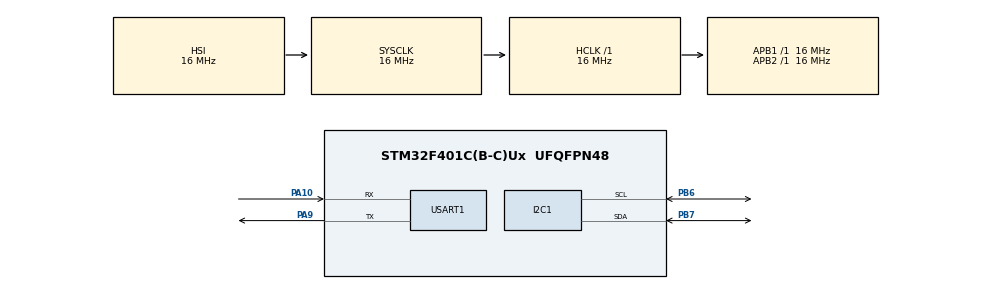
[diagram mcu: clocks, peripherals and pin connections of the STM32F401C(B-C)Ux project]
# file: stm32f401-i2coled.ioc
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Mcu.Family=STM32F4
Mcu.Name=STM32F401C(B-C)Ux
Mcu.Package=UFQFPN48
NVIC.PriorityGroup=NVIC_PRIORITYGROUP_4
PA10.Mode=Asynchronous
PA10.Signal=USART1_RX
PA9.Mode=Asynchronous
PA9.Signal=USART1_TX
PB6.Mode=I2C
PB6.Signal=I2C1_SCL
PB7.Mode=I2C
PB7.Signal=I2C1_SDA
ProjectManager.HeapSize=0x200
ProjectManager.StackSize=0x400
ProjectManager.TargetToolchain=SW4STM32
RCC.AHBFreq_Value=16000000
RCC.APB1Freq_Value=16000000
RCC.APB2Freq_Value=16000000
RCC.CortexFreq_Value=16000000
RCC.HSE_VALUE=25000000
RCC.HSI_VALUE=16000000
RCC.LSE_VALUE=32768
RCC.SYSCLKFreq_VALUE=16000000
RCC.VCOOutputFreq_Value=192000000
USART1.VirtualMode=VM_ASYNC
board=custom

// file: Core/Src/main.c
/* USER CODE BEGIN Header */
/**
  ******************************************************************************
  * @file           : main.c
  * @brief          : Main program body
  ******************************************************************************
  * @attention
  *
  * <h2><center>&copy; Copyright (c) 2020 STMicroelectronics.
  * All rights reserved.</center></h2>
  *
  * This software component is licensed by ST under BSD 3-Clause license,
  * the "License"; You may not use this file except in compliance with the
  * License. You may obtain a copy of the License at:
  *                        opensource.org/licenses/BSD-3-Clause
  *
  ******************************************************************************
  */
/* USER CODE END Header */
#include "main.h"
#include "i2c.h"
#include "usart.h"
#include "gpio.h"
//#include "sh1106g.h"
#include "sh1107.h"

void SystemClock_Config(void);

int main(void)
{

  /* MCU Configuration--------------------------------------------------------*/

  /* Reset of all peripherals, Initializes the Flash interface and the Systick. */
  HAL_Init();

  /* Configure the system clock */
  SystemClock_Config();

  /* Initialize all configured peripherals */
  MX_GPIO_Init();
  MX_I2C1_Init();
  MX_USART1_UART_Init();
  /* USER CODE BEGIN 2 */
  printf("hello world\r\n");
  printf("this is a test-i2c.\r\n");
  printf("freq:%ld\r\n",HAL_RCC_GetHCLKFreq());
  HAL_StatusTypeDef result;
  int32_t i;
  uint8_t read_buf1[8]={0};
  uint8_t read_buf2[8]={0};

  for(i=0;i<128;i++)
  {
    result = HAL_I2C_Mem_Read(&hi2c1,(i<<1)|1,0x00,I2C_MEMADD_SIZE_8BIT,read_buf1,8,0xff);
    if(0 == result)
    {
      printf("scaned:0x%x\r\n",(i<<1)|1);
    }
    else
    {
      //printf("error:%d\r\n",result);
    }
  }
  /*
  sh1106g_init();
  sh1106g_cls();
  sh1106g_fill(0x0f);
  sh1106g_showstr(0,1,"1234567890123406",1);
  sh1106g_showstr(0,2,"1239567890123457",1);
  sh1106g_showstr(0,3,"5234567890123455",1);
  sh1106g_showstr(0,4,"1237567890123454",1);
  sh1106g_showstr(0,5,"3234567890123426",1);
  sh1106g_showstr(0,6,"1234547890123456",1);
  sh1106g_showstr(0,7,"1237567890123459",1);
  sh1106g_showstr(0,8,"3234567890623465",1);
  */

  sh1107_init();
  sh1107_clear();
  sh1107_showchar(1,1,'a');

  /* USER CODE END 2 */

  /* Infinite loop */
  while (1)
  {

  }
}

void SystemClock_Config(void)
{
  RCC_OscInitTypeDef RCC_OscInitStruct = {0};
  RCC_ClkInitTypeDef RCC_ClkInitStruct = {0};

  /** Configure the main internal regulator output voltage
  */
  __HAL_RCC_PWR_CLK_ENABLE();
  __HAL_PWR_VOLTAGESCALING_CONFIG(PWR_REGULATOR_VOLTAGE_SCALE2);
  /** Initializes the RCC Oscillators according to the specified parameters
  * in the RCC_OscInitTypeDef structure.
  */
  RCC_OscInitStruct.OscillatorType = RCC_OSCILLATORTYPE_HSI;
  RCC_OscInitStruct.HSIState = RCC_HSI_ON;
  RCC_OscInitStruct.HSICalibrationValue = RCC_HSICALIBRATION_DEFAULT;
  RCC_OscInitStruct.PLL.PLLState = RCC_PLL_NONE;
  if (HAL_RCC_OscConfig(&RCC_OscInitStruct) != HAL_OK)
  {
    Error_Handler();
  }
  /** Initializes the CPU, AHB and APB buses clocks
  */
  RCC_ClkInitStruct.ClockType = RCC_CLOCKTYPE_HCLK|RCC_CLOCKTYPE_SYSCLK
                              |RCC_CLOCKTYPE_PCLK1|RCC_CLOCKTYPE_PCLK2;
  RCC_ClkInitStruct.SYSCLKSource = RCC_SYSCLKSOURCE_HSI;
  RCC_ClkInitStruct.AHBCLKDivider = RCC_SYSCLK_DIV1;
  RCC_ClkInitStruct.APB1CLKDivider = RCC_HCLK_DIV1;
  RCC_ClkInitStruct.APB2CLKDivider = RCC_HCLK_DIV1;

  if (HAL_RCC_ClockConfig(&RCC_ClkInitStruct, FLASH_LATENCY_0) != HAL_OK)
  {
    Error_Handler();
  }
}

void Error_Handler(void)
{
}

/************************ (C) COPYRIGHT STMicroelectronics *****END OF FILE****/
